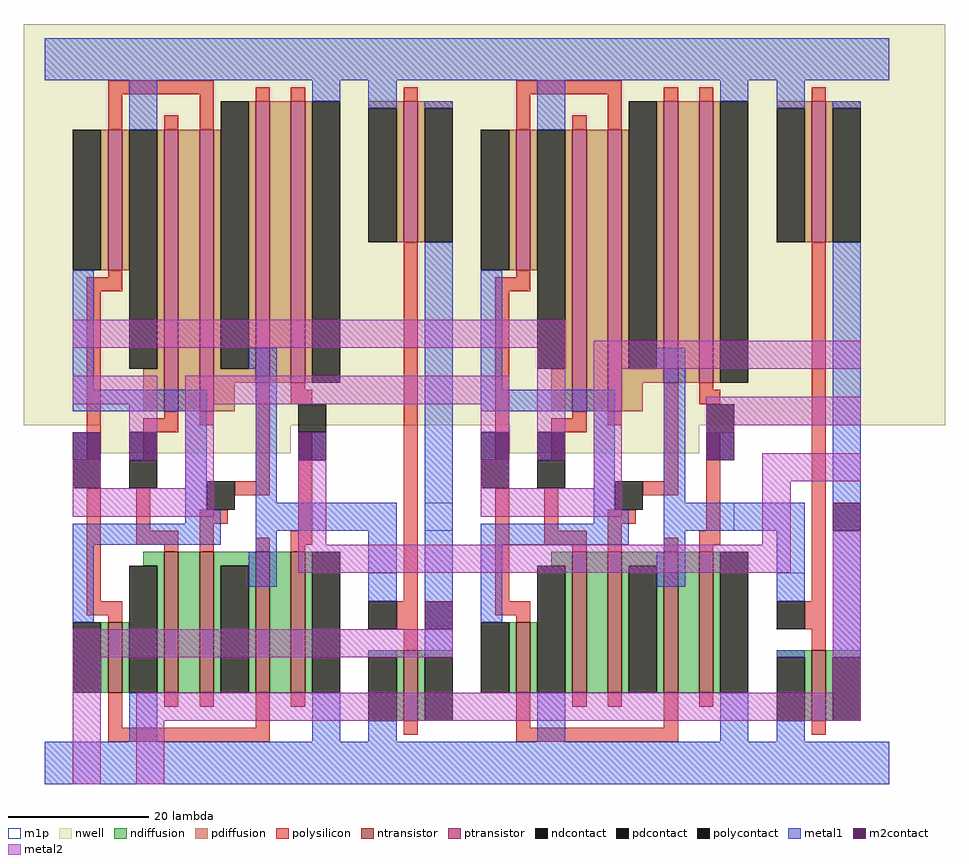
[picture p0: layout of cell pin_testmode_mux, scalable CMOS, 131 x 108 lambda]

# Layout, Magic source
magic
tech scmos
<< m2contact >>
rect 7 46 11 50
rect 15 46 19 50
rect 39 46 43 50
rect 65 46 69 50
rect 73 46 77 50
rect 97 46 101 50
rect 115 36 119 40
rect 57 22 61 26
<< metal2 >>
rect 7 62 77 66
rect 7 54 19 58
rect 15 50 19 54
rect 23 54 69 58
rect 7 42 11 46
rect 23 42 27 54
rect 65 50 69 54
rect 7 38 27 42
rect 39 34 43 46
rect 73 50 77 62
rect 81 59 119 63
rect 65 42 69 46
rect 81 42 85 59
rect 97 51 119 55
rect 97 50 101 51
rect 65 38 85 42
rect 105 43 119 47
rect 105 34 109 43
rect 39 30 109 34
rect 7 18 61 22
rect 7 0 11 18
rect 115 13 119 36
rect 16 9 119 13
rect 16 0 20 9
use mux  mux_0
transform 1 0 0 0 1 0
box 0 0 73 108
use mux  mux_1
transform 1 0 58 0 1 0
box 0 0 73 108
<< end >>

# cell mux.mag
magic
tech scmos
<< metal1 >>
rect 43 36 53 40
rect 49 30 53 36
use MUX2X1  MUX2X1_0
transform 1 0 5 0 1 3
box -5 -3 53 105
use INVX1  INVX1_0
transform 1 0 47 0 1 3
box -9 -3 26 105
<< end >>

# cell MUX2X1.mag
magic
tech scmos
<< nwell >>
rect -5 48 53 105
rect 6 44 33 48
<< ntransistor >>
rect 7 10 9 20
rect 15 10 17 30
rect 20 10 22 30
rect 28 10 30 30
rect 33 10 35 30
<< ptransistor >>
rect 7 70 9 90
rect 15 50 17 90
rect 20 50 22 90
rect 28 54 30 94
rect 33 54 35 94
<< ndiffusion >>
rect 12 28 15 30
rect 6 10 7 20
rect 9 10 10 20
rect 14 10 15 28
rect 17 10 20 30
rect 22 28 28 30
rect 22 10 23 28
rect 27 10 28 28
rect 30 10 33 30
rect 35 10 36 30
<< pdiffusion >>
rect 6 70 7 90
rect 9 70 10 90
rect 14 56 15 90
rect 12 50 15 56
rect 17 50 20 90
rect 22 56 23 90
rect 27 56 28 94
rect 22 54 28 56
rect 30 54 33 94
rect 35 54 36 94
rect 22 50 25 54
<< ndcontact >>
rect 2 10 6 20
rect 10 10 14 28
rect 23 10 27 28
rect 36 10 40 30
<< pdcontact >>
rect 2 70 6 90
rect 10 56 14 90
rect 23 56 27 94
rect 36 54 40 94
<< polysilicon >>
rect 7 95 22 97
rect 7 90 9 95
rect 15 90 17 92
rect 20 90 22 95
rect 28 94 30 96
rect 33 94 35 96
rect 7 69 9 70
rect 4 67 9 69
rect 4 43 6 67
rect 15 49 17 50
rect 12 47 17 49
rect 20 48 22 50
rect 12 43 14 47
rect 28 40 30 54
rect 33 53 35 54
rect 33 51 36 53
rect 4 23 6 39
rect 11 33 13 39
rect 25 38 30 40
rect 20 34 24 36
rect 11 31 17 33
rect 15 30 17 31
rect 20 30 22 34
rect 34 33 36 47
rect 28 30 30 32
rect 33 31 36 33
rect 33 30 35 31
rect 4 21 9 23
rect 7 20 9 21
rect 7 5 9 10
rect 15 8 17 10
rect 20 8 22 10
rect 28 5 30 10
rect 33 8 35 10
rect 7 3 30 5
<< polycontact >>
rect 2 39 6 43
rect 10 39 14 43
rect 21 36 25 40
rect 34 47 38 51
<< metal1 >>
rect -2 97 50 103
rect 10 90 14 97
rect 36 94 40 97
rect 2 53 5 70
rect 27 56 31 59
rect 2 50 21 53
rect 2 43 6 47
rect 10 43 14 47
rect 18 36 21 50
rect 28 37 31 56
rect 34 43 38 47
rect 18 34 23 36
rect 2 31 23 34
rect 28 33 38 37
rect 2 20 5 31
rect 28 30 31 33
rect 27 25 31 30
rect 10 3 14 10
rect 36 3 40 10
rect -2 -3 50 3
<< m1p >>
rect 2 43 6 47
rect 10 43 14 47
rect 34 43 38 47
rect 34 33 38 37
<< labels >>
rlabel metal1 4 45 4 45 1 S
rlabel metal1 36 35 36 35 1 Y
rlabel metal1 36 45 36 45 1 A
rlabel metal1 12 45 12 45 1 B
<< end >>

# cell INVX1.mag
magic
tech scmos
<< nwell >>
rect -9 48 26 105
<< ntransistor >>
rect 7 6 9 16
<< ptransistor >>
rect 7 74 9 94
<< ndiffusion >>
rect 2 15 7 16
rect 6 6 7 15
rect 9 15 14 16
rect 9 6 10 15
<< pdiffusion >>
rect 2 93 7 94
rect 6 74 7 93
rect 9 93 14 94
rect 9 74 10 93
<< ndcontact >>
rect 2 6 6 15
rect 10 6 14 15
<< pdcontact >>
rect 2 74 6 93
rect 10 74 14 93
<< polysilicon >>
rect 7 94 9 96
rect 7 23 9 74
rect 6 19 9 23
rect 7 16 9 19
rect 7 4 9 6
<< polycontact >>
rect 2 19 6 23
<< metal1 >>
rect -2 97 18 103
rect 2 93 6 97
rect 10 93 14 94
rect 2 23 6 27
rect 2 15 6 16
rect 10 15 14 74
rect 2 3 6 6
rect -2 -3 18 3
<< m1p >>
rect 10 33 14 37
rect 2 23 6 27
<< labels >>
rlabel metal1 4 25 4 25 6 A
rlabel metal1 12 35 12 35 6 Y
rlabel metal1 4 100 4 100 6 vdd
rlabel metal1 4 0 4 0 8 gnd
<< end >>
